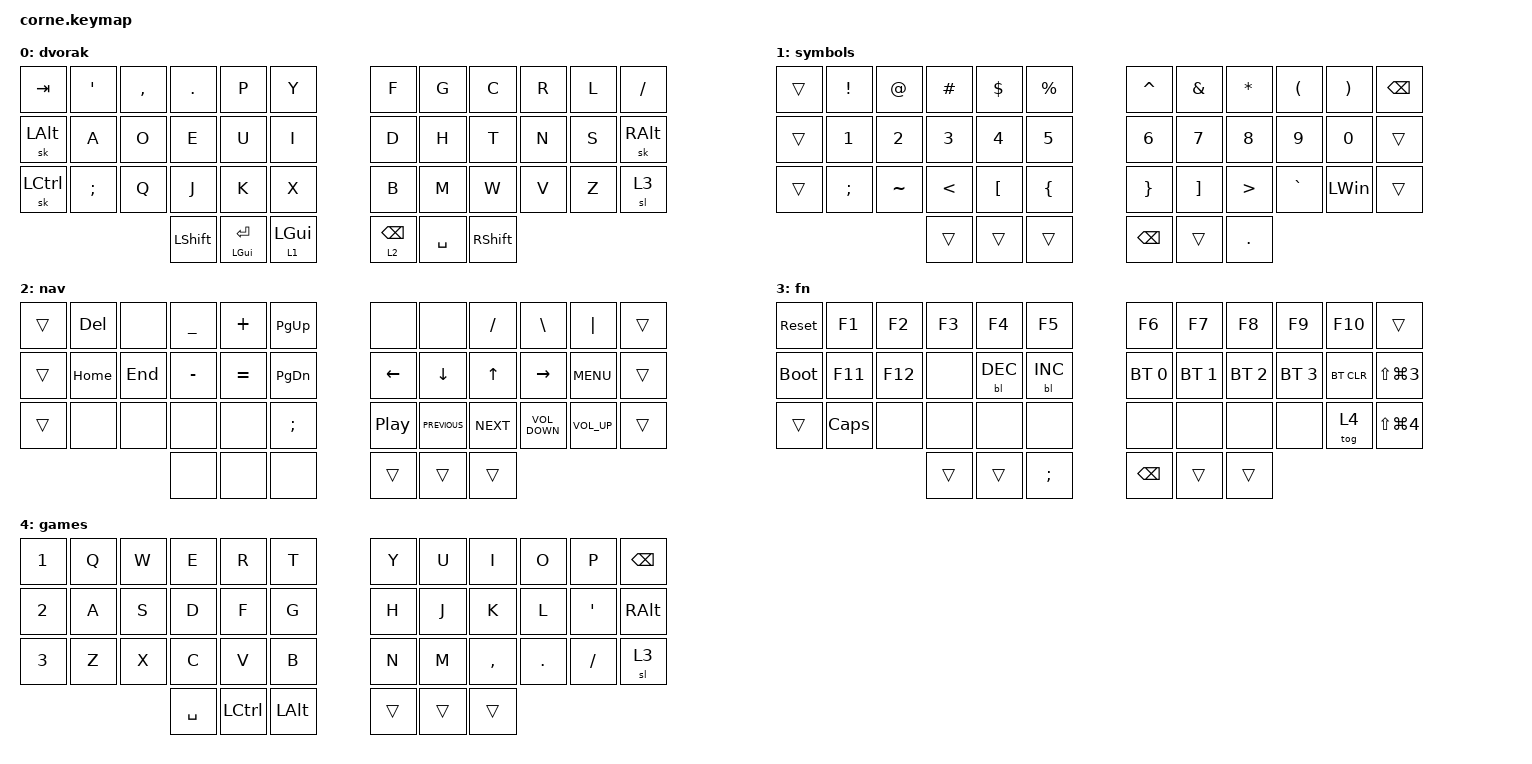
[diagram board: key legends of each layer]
#include <behaviors.dtsi>
#include <dt-bindings/zmk/backlight.h>
#include <dt-bindings/zmk/bt.h>
#include <dt-bindings/zmk/keys.h>

&lt { tapping-term-ms = <250>; };

/ {
    combos {
        compatible = "zmk,combos";

        Escape {
            bindings = <&kp ESCAPE>;
            key-positions = <19 20>;
            timeout-ms = <25>;
            layers = <0 4>;
        };

        C_ALL {
            bindings = <&kp LG(A)>;
            key-positions = <15 16>;
            layers = <0>;
            timeout-ms = <25>;
        };

        C_COPY {
            bindings = <&kp LG(C)>;
            key-positions = <27 28>;
            layers = <0>;
            timeout-ms = <25>;
        };

        C_PASTE {
            bindings = <&kp LG(V)>;
            key-positions = <31 32>;
            timeout-ms = <25>;
            layers = <0>;
        };
    };

    keymap {
        compatible = "zmk,keymap";

        dvorak {
            bindings = <
&kp TAB    &kp SQT   &kp COMMA  &kp DOT     &kp P               &kp Y             &kp F            &kp G      &kp C            &kp R  &kp L  &kp SLASH
&sk LALT   &kp A     &kp O      &kp E       &kp U               &kp I             &kp D            &kp H      &kp T            &kp N  &kp S  &sk RIGHT_ALT
&sk LCTRL  &kp SEMI  &kp Q      &kp J       &kp K               &kp X             &kp B            &kp M      &kp W            &kp V  &kp Z  &sl 3
                                &kp LSHIFT  &mt LEFT_GUI ENTER  &lt 1 LEFT_GUI    &lt 2 BACKSPACE  &kp SPACE  &kp RIGHT_SHIFT
            >;

            label = "dvorak";
        };

        symbols {
            bindings = <
&trans  &kp EXCLAMATION  &kp AT_SIGN   &kp POUND      &kp DOLLAR        &kp PERCENT       &kp CARET        &kp AMPERSAND      &kp ASTERISK      &kp LEFT_PARENTHESIS  &kp RIGHT_PARENTHESIS  &kp BSPC
&trans  &kp NUMBER_1     &kp NUMBER_2  &kp NUMBER_3   &kp NUMBER_4      &kp NUMBER_5      &kp NUMBER_6     &kp NUMBER_7       &kp NUMBER_8      &kp NUMBER_9          &kp NUMBER_0           &trans
&trans  &kp SEMI         &kp TILDE     &kp LESS_THAN  &kp LEFT_BRACKET  &kp LEFT_BRACE    &kp RIGHT_BRACE  &kp RIGHT_BRACKET  &kp GREATER_THAN  &kp GRAVE             &kp LEFT_WIN           &trans
                                       &trans         &trans            &trans            &kp BACKSPACE    &trans             &kp PERIOD
            >;

            label = "symbols";
        };

        nav_media {
            bindings = <
&trans  &kp DELETE  &none    &kp UNDERSCORE  &kp PLUS   &kp PAGE_UP      &none             &none           &kp SLASH     &kp BACKSLASH      &kp PIPE         &trans
&trans  &kp HOME    &kp END  &kp MINUS       &kp EQUAL  &kp PAGE_DOWN    &kp LEFT          &kp DOWN        &kp UP_ARROW  &kp RIGHT          &kp K_MENU       &trans
&trans  &none       &none    &none           &none      &kp SEMICOLON    &kp C_PLAY_PAUSE  &kp C_PREVIOUS  &kp C_NEXT    &kp C_VOLUME_DOWN  &kp C_VOLUME_UP  &trans
                             &none           &none      &none            &trans            &trans          &trans
            >;

            label = "nav";
        };

        functions {
            bindings = <
&sys_reset   &kp F1    &kp F2   &kp F3  &kp F4      &kp F5        &kp F6         &kp F7        &kp F8        &kp F9        &kp F10     &trans
&bootloader  &kp F11   &kp F12  &none   &bl BL_DEC  &bl BL_INC    &bt BT_SEL 0   &bt BT_SEL 1  &bt BT_SEL 2  &bt BT_SEL 3  &bt BT_CLR  &kp LS(LG(NUMBER_3))
&trans       &kp CAPS  &none    &none   &none       &none         &none          &none         &none         &none         &tog 4      &kp LS(LG(NUMBER_4))
                                &trans  &trans      &kp SEMI      &kp BACKSPACE  &trans        &trans
            >;

            label = "fn";
        };

        games {
            bindings = <
&kp NUMBER_1  &kp Q  &kp W  &kp E      &kp R             &kp T           &kp Y   &kp U   &kp I      &kp O    &kp P             &kp BACKSPACE
&kp NUMBER_2  &kp A  &kp S  &kp D      &kp F             &kp G           &kp H   &kp J   &kp K      &kp L    &kp SINGLE_QUOTE  &kp RIGHT_ALT
&kp NUMBER_3  &kp Z  &kp X  &kp C      &kp V             &kp B           &kp N   &kp M   &kp COMMA  &kp DOT  &kp FSLH          &sl 3
                            &kp SPACE  &kp LEFT_CONTROL  &kp LEFT_ALT    &trans  &trans  &trans
            >;

            label = "games";
        };
    };
};
